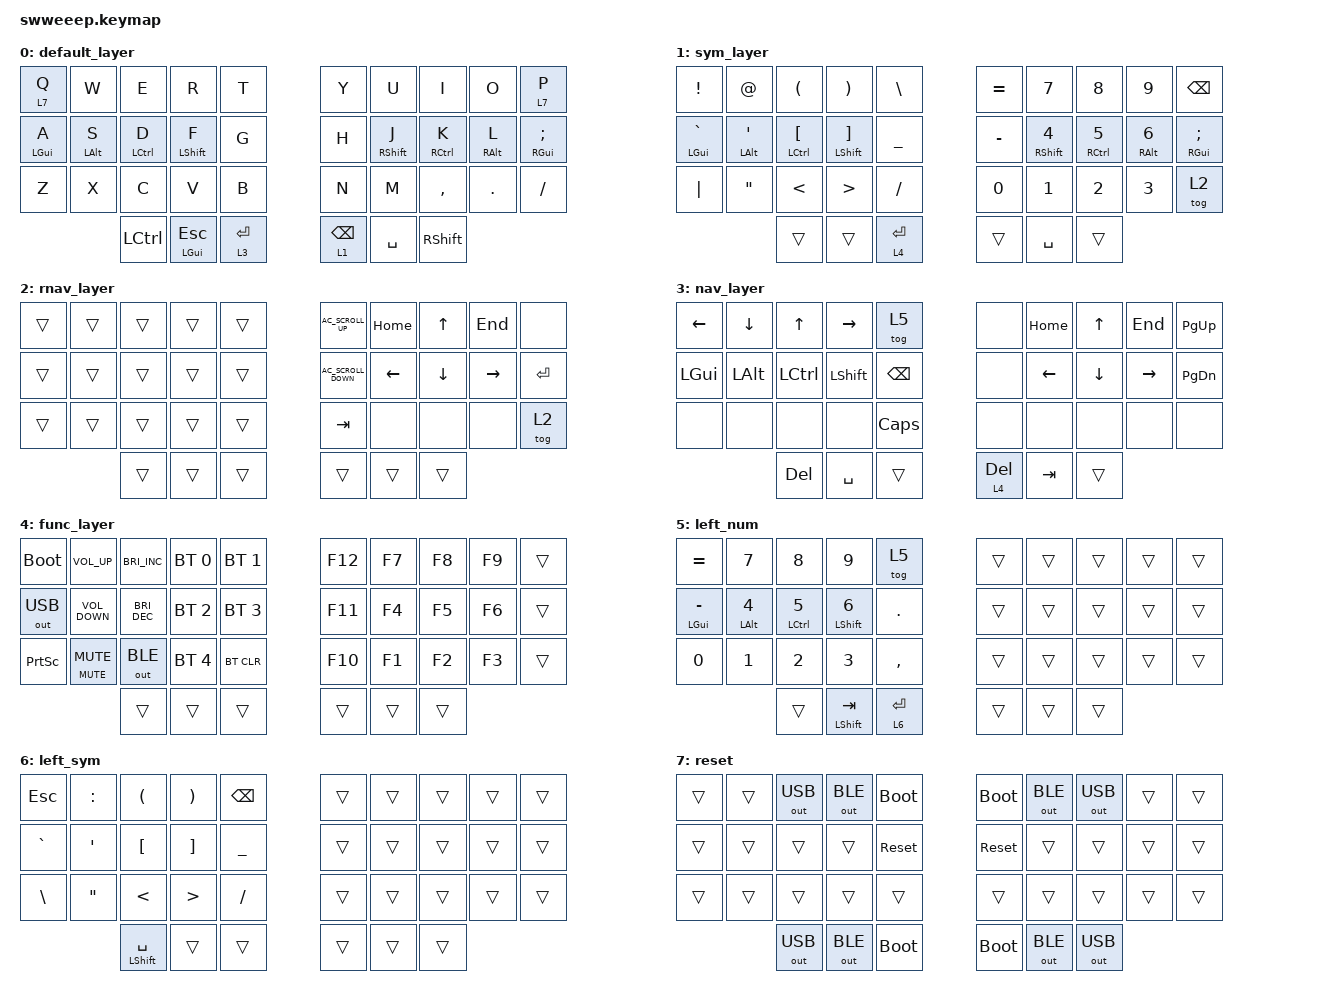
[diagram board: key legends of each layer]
#include <behaviors.dtsi>
#include <dt-bindings/zmk/bt.h>
#include <dt-bindings/zmk/keys.h>
#include <dt-bindings/zmk/outputs.h>

&caps_word {
    continue-list = <UNDERSCORE MINUS>;
};

/ {
    combos {
        compatible = "zmk,combos";
    };
};

/ {
    behaviors {
        hm: homerow_mods {
            compatible = "zmk,behavior-hold-tap";
            label = "HOMEROW_MODS";
            #binding-cells = <2>;
            tapping-term-ms = <200>;
            flavor = "balanced";
            bindings = <&kp>, <&kp>;

            quick-tap-ms = <0>;
        };
        hs: homerow_shift {
            compatible = "zmk,behavior-hold-tap";
            label = "HOMEROW_SHIFT";
            #binding-cells = <2>;
            tapping-term-ms = <175>;
            flavor = "balanced";
            bindings = <&kp>, <&kp>;

            quick-tap-ms = <0>;
        };
        rst: reset_hold_tap {
            compatible = "zmk,behavior-hold-tap";
            label = "reset_hold_tap";
            bindings = <&mo>, <&kp>;

            #binding-cells = <2>;
            tapping-term-ms = <999>;
            flavor = "tap-preferred";
            quick-tap-ms = <200>;
        };
        bsp_l: bsp_l {
            compatible = "zmk,behavior-hold-tap";
            label = "BSP_L";
            bindings = <&mo>, <&kp>;

            #binding-cells = <2>;
            tapping-term-ms = <200>;
            quick-tap-ms = <100>;
        };
    };

    keymap {
        compatible = "zmk,keymap";

        default_layer {
            bindings = <
&rst 7 Q      &kp W         &kp E          &kp R           &kp T          &kp Y            &kp U           &kp I          &kp O             &rst 7 P
&hm LGUI A    &hm LALT S    &hm LCTRL D    &hs LSHIFT F    &kp G          &kp H            &hs RSHIFT J    &hm RCTRL K    &hm RALT L        &hm RGUI SEMI
&kp Z         &kp X         &kp C          &kp V           &kp B          &kp N            &kp M           &kp COMMA      &kp DOT           &kp FSLH
                            &kp LCTRL      &mt LGUI ESC    &lt 3 ENTER    &bsp_l 1 BSPC    &kp SPACE       &kp RSHIFT
            >;
        };

        sym_layer {
            bindings = <
&kp EXCL          &kp AT               &kp LPAR          &kp RPAR           &kp BACKSLASH    &kp EQUAL    &kp N7          &kp N8          &kp N9         &kp BSPC
&hm LGUI GRAVE    &hm LALT APOS        &hm LCTRL LBKT    &hs LSHIFT RBKT    &kp UNDER        &kp MINUS    &hs RSHFT N4    &hm RCTRL N5    &hm RALT N6    &hm RGUI SEMI
&kp PIPE          &kp DOUBLE_QUOTES    &kp LT            &kp GT             &kp SLASH        &kp N0       &kp N1          &kp N2          &kp N3         &tog 2
                                       &trans            &trans             &lt 4 ENTER      &trans       &kp SPACE       &trans
            >;
        };

        rnav_layer {
            bindings = <
&trans    &trans    &trans    &trans    &trans    &kp C_AC_SCROLL_UP      &kp HOME    &kp UP      &kp END      &none
&trans    &trans    &trans    &trans    &trans    &kp C_AC_SCROLL_DOWN    &kp LEFT    &kp DOWN    &kp RIGHT    &kp RET
&trans    &trans    &trans    &trans    &trans    &kp TAB                 &none       &none       &none        &tog 2
                    &trans    &trans    &trans    &trans                  &trans      &trans
            >;
        };

        nav_layer {
            bindings = <
&kp LEFT    &kp DOWN    &kp UP       &kp RIGHT    &tog 5      &none        &kp HOME    &kp UP      &kp END      &kp PG_UP
&kp LGUI    &kp LALT    &kp LCTRL    &kp LSHFT    &kp BSPC    &none        &kp LEFT    &kp DOWN    &kp RIGHT    &kp PG_DN
&none       &none       &none        &none        &kp CAPS    &none        &none       &none       &none        &none
                        &kp DEL      &kp SPACE    &trans      &lt 4 DEL    &kp TAB     &trans
            >;
        };

        func_layer {
            bindings = <
&bootloader        &kp C_VOLUME_UP      &kp C_BRIGHTNESS_INC    &bt BT_SEL 0    &bt BT_SEL 1    &kp F12    &kp F7    &kp F8    &kp F9    &trans
&out OUT_USB       &kp C_VOLUME_DOWN    &kp C_BRIGHTNESS_DEC    &bt BT_SEL 2    &bt BT_SEL 3    &kp F11    &kp F4    &kp F5    &kp F6    &trans
&kp PRINTSCREEN    &mt C_MUTE K_MUTE    &out OUT_BLE            &bt BT_SEL 4    &bt BT_CLR      &kp F10    &kp F1    &kp F2    &kp F3    &trans
                                        &trans                  &trans          &trans          &trans     &trans    &trans
            >;
        };

        left_num {
            bindings = <
&kp EQUAL         &kp N7         &kp N8          &kp N9           &tog 5         &trans    &trans    &trans    &trans    &trans
&hm LGUI MINUS    &hm LALT N4    &hm LCTRL N5    &hs LSHFT N6     &kp DOT        &trans    &trans    &trans    &trans    &trans
&kp N0            &kp N1         &kp N2          &kp N3           &kp COMMA      &trans    &trans    &trans    &trans    &trans
                                 &trans          &mt LSHFT TAB    &lt 6 ENTER    &trans    &trans    &trans
            >;
        };

        left_sym {
            bindings = <
&kp ESC      &kp COLON            &kp LPAR           &kp RPAR    &kp BSPC     &trans    &trans    &trans    &trans    &trans
&kp GRAVE    &kp SQT              &kp LBKT           &kp RBKT    &kp UNDER    &trans    &trans    &trans    &trans    &trans
&kp BSLH     &kp DOUBLE_QUOTES    &kp LT             &kp GT      &kp FSLH     &trans    &trans    &trans    &trans    &trans
                                  &mt LSHFT SPACE    &trans      &trans       &trans    &trans    &trans
            >;
        };

        reset {
            bindings = <
&trans    &trans    &out OUT_USB    &out OUT_BLE    &bootloader    &bootloader    &out OUT_BLE    &out OUT_USB    &trans    &trans
&trans    &trans    &trans          &trans          &sys_reset     &sys_reset     &trans          &trans          &trans    &trans
&trans    &trans    &trans          &trans          &trans         &trans         &trans          &trans          &trans    &trans
                    &out OUT_USB    &out OUT_BLE    &bootloader    &bootloader    &out OUT_BLE    &out OUT_USB
            >;
        };
    };
};
